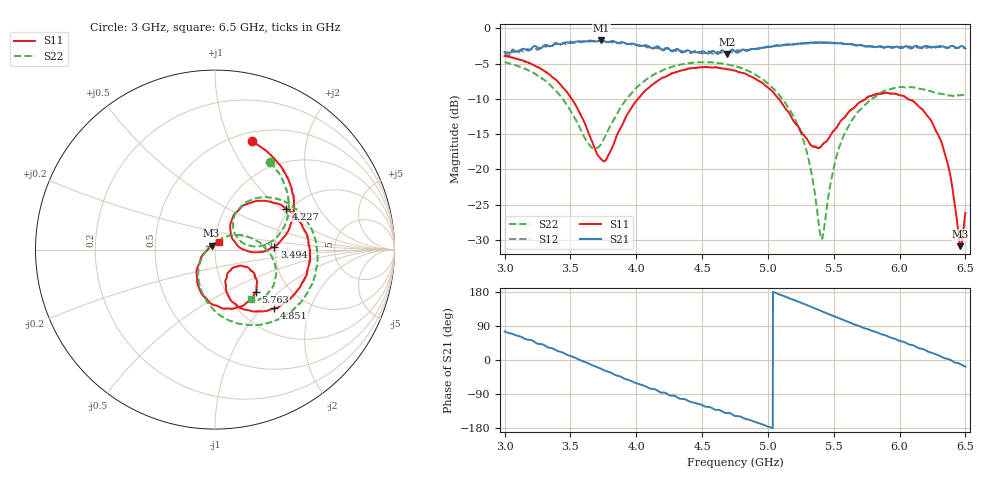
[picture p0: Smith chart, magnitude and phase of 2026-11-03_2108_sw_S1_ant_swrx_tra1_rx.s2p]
! HEWLETT PACKARD,8720ES,MY41003347,7.72, via bringup/vna_tests.py
! sw_S1_ant_swrx_tra1_rx
! measured 2026-11-03 21:09:50, 1601 points, 3000000000-6500000000 Hz, IF bandwidth 1000 Hz, source -40.00 dBm, kit CALK35MD
! board A, CTRL bits {'tr_a': 1} set before each sweep
# HZ S RI R 50
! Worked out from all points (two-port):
!   1601 points, 3 GHz to 6.5 GHz, reference 50 ohm
!   highest |S21| = -1.72 dB at 3.735 GHz (marker M1); lowest = -3.6 dB at 4.691 GHz (marker M2)
!   |S21| within 3 dB of the highest: start of sweep to end of sweep
!   lowest |S11| = -30.9 dB at 6.463 GHz (marker M3), VSWR 1.06, Z = 48.1 + j2.03 ohm
!   |S11| at or under -10 dB: 3.508 GHz to 4.014 GHz (505.3 MHz wide, 13.4 % of centre); 5.082 GHz to 5.742 GHz (659.9 MHz wide, 12.2 % of centre); 6.063 GHz to end of sweep
!   |S22| runs from -29.9 to -4.8 dB; largest |S21 - S12| = 0.037
!   S11 on the Smith chart (normalised r, x): 3 GHz: 0.59, +1.21; 3.494 GHz: 1.99, +0.07; 4.227 GHz: 1.89, +1.09; 4.851 GHz: 1.41, -1.18; 5.763 GHz: 1.37, -0.72; 6.5 GHz: 1.04, +0.09
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3e9  0.2038 0.604  0.1716 0.6571  0.1789 0.6385  0.3087 0.4876
3.2625e9  0.4389 0.2898  0.5318 0.4814  0.5089 0.5054  0.4074 0.2016
3.494375e9  0.3309 0.0165  0.7742 0.1514  0.7893 0.1618  0.2653 0.0226
3.584062e9  0.2364 -0.0146  0.8057 -0.0265  0.8001 -0.021  0.185 0.0242
3.735e9  0.1087 0.0452  0.7519 -0.3291  0.7392 -0.3327  0.1013 0.1136
3.951562e9  0.1357 0.2249  0.4585 -0.627  0.45 -0.6306  0.1945 0.274
4.168125e9  0.3401 0.2586  0.0974 -0.7346  0.0948 -0.7166  0.4195 0.2491
4.227188e9  0.3945 0.2282  0.0287 -0.72  0.011 -0.7264  0.4752 0.2067
4.46125e9  0.5258 0.0145  -0.2813 -0.6138  -0.2996 -0.6123  0.572 -0.0521
4.690938e9  0.4613 -0.2265  -0.5021 -0.4275  -0.5204 -0.4335  0.4575 -0.3128
4.75e9  0.4238 -0.2697  -0.5798 -0.3664  -0.5612 -0.3864  0.3987 -0.3622
4.850625e9  0.3303 -0.3273  -0.6423 -0.2719  -0.6496 -0.2717  0.2793 -0.4134
5.17e9  0.0642 -0.2335  -0.7285 0.2368  -0.7289 0.2432  -0.0653 -0.2512
5.334062e9  0.0745 -0.1259  -0.603 0.5151  -0.5966 0.5131  -0.0752 -0.0512
5.412812e9  0.1141 -0.0965  -0.4921 0.624  -0.4856 0.6208  -0.0178 0.0268
5.544062e9  0.1879 -0.1036  -0.2628 0.7379  -0.2584 0.7371  0.1206 0.0816
5.762812e9  0.2285 -0.2352  0.1183 0.7384  0.1242 0.7327  0.3007 -0.0168
5.918125e9  0.1375 -0.3178  0.3583 0.6481  0.3579 0.646  0.3394 -0.1443
6.29875e9  -0.1025 -0.1379  0.7277 0.15  0.7267 0.14  0.1981 -0.2826
6.3775e9  -0.0815 -0.056  0.7357 0.0183  0.7305 0.0047  0.1904 -0.2748
6.462812e9  -0.0192 0.0211  0.733 -0.1397  0.7114 -0.1509  0.1947 -0.2729
6.5e9  0.0214 0.044  0.6863 -0.2169  0.6924 -0.217  0.1992 -0.2751
